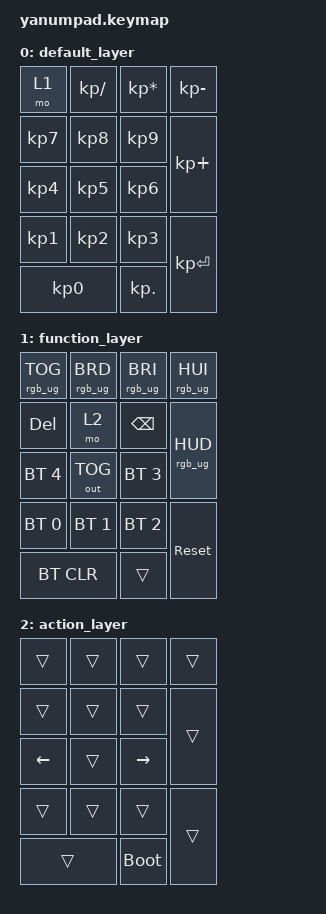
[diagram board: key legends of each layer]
#include <behaviors.dtsi>
#include <dt-bindings/zmk/bt.h>
#include <dt-bindings/zmk/keys.h>
#include <dt-bindings/zmk/outputs.h>

#include <dt-bindings/zmk/rgb.h>
#include <dt-bindings/zmk/ext_power.h>

// ------------------default-----------------
// | LAYERSFT |    /    |    *    |    -    |
// |    7     |    8    |    9    |    +    |
// |    4     |    5    |    6    |         |
// |    1     |    2    |    3    |  ENTER  |
// |          |    0    |         |    .    |
// ----------------------------functions-------------------------------
// | RGB toggle |  Brightness Up     |BrightnessD|  Hue Up            |
// |  Delete    |    LAYERSFT        |DeleteBack |  Hue Down          |
// |Bluetooth 4 |    OUT_TOG         |Bluetooth 3|                    |
// |Bluetooth 0 |    Bluetooth 1     |Bluetooth 2|   reset            |
// |            |    BluetoothCLR    |           |   NOP              |
// --------------------action layer------------------
// |     NOP   |     NOP   |     NOP   |     NOP    |
// |     NOP   |     NOP   |     NOP   |            |
// |Arrow Left |     NOP   |Arrow Right|     NOP    |
// |     NOP   |     NOP   |     NOP   |     NOP    |
// |           |     NOP   |           | Bootloader |

&led_strip { chain-length = <21>; };

/ {
    keymap {
        compatible = "zmk,keymap";

        default_layer {
            bindings = <
&mo 1      &kp KP_DIVIDE  &kp KP_MULTIPLY  &kp KP_MINUS
&kp KP_N7  &kp KP_N8      &kp KP_N9        &kp KP_PLUS
&kp KP_N4  &kp KP_N5      &kp KP_N6
&kp KP_N1  &kp KP_N2      &kp KP_N3        &kp KP_ENTER
           &kp KP_N0                       &kp KP_DOT
            >;
        };

        function_layer {
            bindings = <
&rgb_ug RGB_TOG  &rgb_ug RGB_BRD  &rgb_ug RGB_BRI  &rgb_ug RGB_HUI
&kp DEL          &mo 2            &kp BSPC         &rgb_ug RGB_HUD
&bt BT_SEL 4     &out OUT_TOG     &bt BT_SEL 3
&bt BT_SEL 0     &bt BT_SEL 1     &bt BT_SEL 2     &sys_reset
                 &bt BT_CLR                        &trans
            >;
        };

        action_layer {
            bindings = <
&trans    &trans  &trans     &trans
&trans    &trans  &trans     &trans
&kp LEFT  &trans  &kp RIGHT
&trans    &trans  &trans     &trans
          &trans             &bootloader
            >;
        };
    };
};
